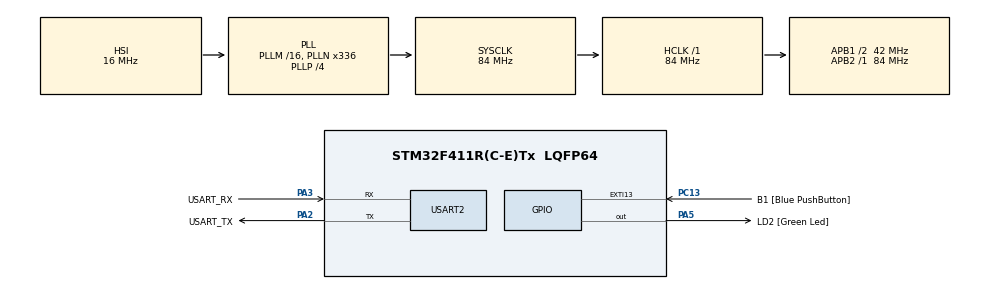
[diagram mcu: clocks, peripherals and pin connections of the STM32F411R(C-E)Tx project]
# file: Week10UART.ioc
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Mcu.Family=STM32F4
Mcu.Name=STM32F411R(C-E)Tx
Mcu.Package=LQFP64
NVIC.PriorityGroup=NVIC_PRIORITYGROUP_0
NVIC.USART2_IRQn=true\:0\:0\:false\:false\:true\:true\:true
PA13.GPIO_Label=TMS
PA13.Mode=Serial_Wire
PA13.Signal=SYS_JTMS-SWDIO
PA14.GPIO_Label=TCK
PA14.Mode=Serial_Wire
PA14.Signal=SYS_JTCK-SWCLK
PA2.GPIO_Label=USART_TX
PA2.Mode=Asynchronous
PA2.Signal=USART2_TX
PA3.GPIO_Label=USART_RX
PA3.Mode=Asynchronous
PA3.Signal=USART2_RX
PA5.GPIO_Label=LD2 [Green Led]
PA5.Signal=GPIO_Output
PB3.GPIO_Label=SWO
PB3.Signal=SYS_JTDO-SWO
PC13-ANTI_TAMP.GPIO_Label=B1 [Blue PushButton]
PC13-ANTI_TAMP.GPIO_ModeDefaultEXTI=GPIO_MODE_IT_FALLING
PC13-ANTI_TAMP.Signal=GPXTI13
PC14-OSC32_IN.Mode=LSE-External-Oscillator
PC14-OSC32_IN.Signal=RCC_OSC32_IN
PC15-OSC32_OUT.Mode=LSE-External-Oscillator
PC15-OSC32_OUT.Signal=RCC_OSC32_OUT
PH0\ -\ OSC_IN.Mode=HSE-External-Clock-Source
PH0\ -\ OSC_IN.Signal=RCC_OSC_IN
PH1\ -\ OSC_OUT.Mode=HSE-External-Clock-Source
PH1\ -\ OSC_OUT.Signal=RCC_OSC_OUT
ProjectManager.HeapSize=0x200
ProjectManager.StackSize=0x400
ProjectManager.TargetToolchain=STM32CubeIDE
RCC.48MHZClocksFreq_Value=84000000
RCC.AHBFreq_Value=84000000
RCC.APB1CLKDivider=RCC_HCLK_DIV2
RCC.APB1Freq_Value=42000000
RCC.APB1TimFreq_Value=84000000
RCC.APB2Freq_Value=84000000
RCC.APB2TimFreq_Value=84000000
RCC.CortexFreq_Value=84000000
RCC.FLatency-AdvancedSettings=FLASH_LATENCY_2
RCC.HCLKFreq_Value=84000000
RCC.HSE_VALUE=8000000
RCC.HSI_VALUE=16000000
RCC.PLLN=336
RCC.PLLP=RCC_PLLP_DIV4
RCC.SYSCLKFreq_VALUE=84000000
RCC.SYSCLKSource=RCC_SYSCLKSOURCE_PLLCLK
RCC.VCOOutputFreq_Value=336000000
USART2.VirtualMode=VM_ASYNC
board=NUCLEO-F411RE

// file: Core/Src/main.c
/* USER CODE BEGIN Header */
/**
 ******************************************************************************
 * @file           : main.c
 * @brief          : Main program body
 ******************************************************************************
 * @attention
 *
 * <h2><center>&copy; Copyright (c) 2021 STMicroelectronics.
 * All rights reserved.</center></h2>
 *
 * This software component is licensed by ST under BSD 3-Clause license,
 * the "License"; You may not use this file except in compliance with the
 * License. You may obtain a copy of the License at:
 *                        opensource.org/licenses/BSD-3-Clause
 *
 ******************************************************************************
 */
/* USER CODE END Header */
#include "main.h"

/* USER CODE BEGIN Includes */
#include <stdio.h> //sprintf
#include <string.h> //strlen
/* USER CODE END Includes */

UART_HandleTypeDef huart2;

/* USER CODE BEGIN PV */
char TxDataBuffer[32] = { 0 };
char RxDataBuffer[32] = { 0 };

uint32_t TimeStamp = 0; //for blinking LED

uint8_t TURN = 0;

//text for operation
char LED_Freq[32] = {0}; //Text that tell freq of LED
char LED_Status[32] = {0}; //Text that tell you LED is On/Off
char LED_Switch[5] = {0}; //memory On/Off
uint16_t Freq = 1; // freq of LED

char Button_Status[32] = {0}; //Text that tell status of button
char Status[10] = {0}; //memory Press/Unpress
uint8_t Status_state[2] = {1}; //memeory button state

uint8_t State = 0;
enum STATEMACHINE
{
	StateMenu = 0,
	StateMenu_WaitInput = 10,
	StateLED = 20,
	StateLED_WaitInput = 30,
	StateButton = 40,
	StateButton_WaitInput = 50
};

/* USER CODE END PV */

void SystemClock_Config(void);
static void MX_GPIO_Init(void);
static void MX_USART2_UART_Init(void);
/* USER CODE BEGIN PFP */
void UARTRecieveAndResponsePolling();
int16_t UARTRecieveIT();
/* USER CODE END PFP */

int main(void)
{

  /* MCU Configuration--------------------------------------------------------*/

  /* Reset of all peripherals, Initializes the Flash interface and the Systick. */
  HAL_Init();

  /* Configure the system clock */
  SystemClock_Config();

  /* Initialize all configured peripherals */
  MX_GPIO_Init();
  MX_USART2_UART_Init();
  /* USER CODE BEGIN 2 */
  {
	  char temp[]="\r\n\r\n\r\n\r\n\r\nWelcome\r\nPlease type something to start UART.\r\n";
	  HAL_UART_Transmit(&huart2, (uint8_t*)temp, strlen(temp),10);
  }
  /* USER CODE END 2 */

  /* Infinite loop */
  /* USER CODE BEGIN WHILE */
  sprintf(Status, "Unpress");
  sprintf(LED_Switch, "Off.");
	while (1)
	{
		/*Method 1 Polling Mode*/

		//UARTRecieveAndResponsePolling();

		/*Method 2 Interrupt Mode*/
		HAL_UART_Receive_IT(&huart2,  (uint8_t*)RxDataBuffer, 32);

		/*Method 2 W/ 1 Char Received*/
		int16_t inputchar = UARTRecieveIT();
		if(inputchar!=-1)
		{
			sprintf(TxDataBuffer, "ReceivedChar:[%c]\r\n\r\n", inputchar);
			HAL_UART_Transmit(&huart2, (uint8_t*)TxDataBuffer, strlen(TxDataBuffer), 1000);
		}
		//State machine
		switch (State)
		{
			case StateMenu:
				{
					char MENU[] = "----------MENU----------\r\n-->Press '0' for LED control.\r\n-->Press '1' for Button status.\r\n------------------------\r\n";
					HAL_UART_Transmit(&huart2, (uint8_t*)MENU, strlen(MENU), 100);
				}
				State = StateMenu_WaitInput;
				break;
			case StateMenu_WaitInput:
				switch (inputchar)
				{
					case 0: //No input. Wait for input
						break;
					case -1: //No input. Wait for input
						break;
					case '0':
						{
							char GotoLED[] = " \r\nGo to LED control.\r\nPlease wait....\r\n \r\n";
							HAL_UART_Transmit(&huart2, (uint8_t*)GotoLED, strlen(GotoLED), 100);
						}
						State = StateLED;
						break;
					case '1':
						{
							char GotoButton[] = " \r\nGo to Button status.\r\nPlease wait....\r\n";
							HAL_UART_Transmit(&huart2, (uint8_t*)GotoButton, strlen(GotoButton), 100);
						}
						State = StateButton;
						break;
					default:
						{
							char ERROR[] = " \r\n!!!ERROR!!!\r\nPlease retype.\r\n \r\n";
							HAL_UART_Transmit(&huart2, (uint8_t*)ERROR, strlen(ERROR), 100);
						}
						State = StateMenu;
						break;
				}
				break;
			case StateLED:
				{
					char LED[] = "------------------------\r\nLED control\r\n-->Press 'a' for speed LED up (+1 Hz).\r\n-->Press 's' for speed LED down (-1 Hz).\r\n-->Press 'd' for On/Off LED.\r\n-->Press 'x' for back to menu.\r\n------------------------\r\n";
					HAL_UART_Transmit(&huart2, (uint8_t*)LED, strlen(LED), 100);
				}
				{
					sprintf(LED_Status, "Status of LED:[%s]\r\n", LED_Switch);
					HAL_UART_Transmit(&huart2, (uint8_t*)LED_Status, strlen(LED_Status), 100);
					sprintf(LED_Freq, "Frequency of LED:[%d]\r\n", Freq);
					HAL_UART_Transmit(&huart2, (uint8_t*)LED_Freq, strlen(LED_Freq), 100);
				}
				State = StateLED_WaitInput;
				break;
			case StateLED_WaitInput:
				switch (inputchar)
				{
					case 0: //No input. Wait for input
						break;
					case -1: //No input. Wait for input
						break;
					case 'a':
						Freq += 1;
						State = StateLED;
						break;
					case 's':
						if(Freq > 1)
						{
							Freq -= 1;
						}
						else
						{
							Freq -= 0;
						}
						State = StateLED;
						break;
					case 'd':
						if(TURN == 0)
						{
							TURN = 1;
							sprintf(LED_Switch, "On.");
						}
						else if(TURN == 1)
						{
							TURN = 0;
							sprintf(LED_Switch, "Off.");
						}
						State = StateLED;
						break;
					case 'x':
						{
							char GoBack[] = " \r\nGo to Menu.\r\nPlease wait....\r\n \r\n";
							HAL_UART_Transmit(&huart2, (uint8_t*)GoBack, strlen(GoBack), 100);
						}
						State = StateMenu;
						break;

					default:
						{
							char ERROR[] = " \r\n!!!ERROR!!!\r\nPlease retype.\r\n \r\n";
							HAL_UART_Transmit(&huart2, (uint8_t*)ERROR, strlen(ERROR), 100);
						}
						State = StateLED;
						break;
				}
				break;
			case StateButton:
				{
					char Button[] = "\r\n------------------------\r\nButton status\r\n-->Press 'x' for back to menu.\r\n------------------------\r\n";
					HAL_UART_Transmit(&huart2, (uint8_t*)Button, strlen(Button), 100);
					sprintf(Button_Status,"Status of Button:[%s]\r\n", Status);
					HAL_UART_Transmit(&huart2, (uint8_t*)Button_Status, strlen(Button_Status), 100);
				}
				State = StateButton_WaitInput;
				break;
			case StateButton_WaitInput:
				Status_state[1] = HAL_GPIO_ReadPin(GPIOC, GPIO_PIN_13);
				switch (inputchar)
				{
					case 0: //No input. Wait for input
						if(Status_state[1] != Status_state[0])
						{
							if(HAL_GPIO_ReadPin(GPIOC, GPIO_PIN_13) == 0)
							{
								sprintf(Status, "Press");
							}
							else
							{
								sprintf(Status, "Unpress");
							}
							State = StateButton;
						}
						break;
					case -1: //No input. Wait for input
						if(Status_state[1] != Status_state[0])
						{
							if(HAL_GPIO_ReadPin(GPIOC, GPIO_PIN_13) == 0)
							{
								sprintf(Status, "Press");
							}
								else
							{
								sprintf(Status, "Unpress");
							}
							State = StateButton;
						}
						break;
					case 'x':
						{
							char GoBack[] = " \r\nGo to Menu.\r\nPlease wait....\r\n \r\n";
							HAL_UART_Transmit(&huart2, (uint8_t*)GoBack, strlen(GoBack), 10);
						}
						State = StateMenu;
						break;
					default:
						{
							char ERROR[] = " \r\n!!!ERROR!!!\r\nPlease retype.\r\n \r\n";
							HAL_UART_Transmit(&huart2, (uint8_t*)ERROR, strlen(ERROR), 10);
						}
						State = StateButton;
						break;
				}
				Status_state[0] = Status_state[1];
				break;
			default:
				{
					char ERROR[] = " \r\n!!!ERROR!!!\r\nPlease retype.\r\n \r\n";
					HAL_UART_Transmit(&huart2, (uint8_t*)ERROR, strlen(ERROR), 10);
				}
				State = StateMenu;
				break;
		}
		if(TURN == 1)
		{
			if((HAL_GetTick() - TimeStamp) >= (500/Freq))
			{
				TimeStamp = HAL_GetTick();
				HAL_GPIO_TogglePin(LD2_GPIO_Port, LD2_Pin);
			}
		}
		else
		{
			HAL_GPIO_WritePin(LD2_GPIO_Port, LD2_Pin, GPIO_PIN_RESET);
		}
    /* USER CODE END WHILE */

	}
}

void SystemClock_Config(void)
{
  RCC_OscInitTypeDef RCC_OscInitStruct = {0};
  RCC_ClkInitTypeDef RCC_ClkInitStruct = {0};

  /** Configure the main internal regulator output voltage
  */
  __HAL_RCC_PWR_CLK_ENABLE();
  __HAL_PWR_VOLTAGESCALING_CONFIG(PWR_REGULATOR_VOLTAGE_SCALE1);
  /** Initializes the RCC Oscillators according to the specified parameters
  * in the RCC_OscInitTypeDef structure.
  */
  RCC_OscInitStruct.OscillatorType = RCC_OSCILLATORTYPE_HSI;
  RCC_OscInitStruct.HSIState = RCC_HSI_ON;
  RCC_OscInitStruct.HSICalibrationValue = RCC_HSICALIBRATION_DEFAULT;
  RCC_OscInitStruct.PLL.PLLState = RCC_PLL_ON;
  RCC_OscInitStruct.PLL.PLLSource = RCC_PLLSOURCE_HSI;
  RCC_OscInitStruct.PLL.PLLM = 16;
  RCC_OscInitStruct.PLL.PLLN = 336;
  RCC_OscInitStruct.PLL.PLLP = RCC_PLLP_DIV4;
  RCC_OscInitStruct.PLL.PLLQ = 4;
  if (HAL_RCC_OscConfig(&RCC_OscInitStruct) != HAL_OK)
  {
    Error_Handler();
  }
  /** Initializes the CPU, AHB and APB buses clocks
  */
  RCC_ClkInitStruct.ClockType = RCC_CLOCKTYPE_HCLK|RCC_CLOCKTYPE_SYSCLK
                              |RCC_CLOCKTYPE_PCLK1|RCC_CLOCKTYPE_PCLK2;
  RCC_ClkInitStruct.SYSCLKSource = RCC_SYSCLKSOURCE_PLLCLK;
  RCC_ClkInitStruct.AHBCLKDivider = RCC_SYSCLK_DIV1;
  RCC_ClkInitStruct.APB1CLKDivider = RCC_HCLK_DIV2;
  RCC_ClkInitStruct.APB2CLKDivider = RCC_HCLK_DIV1;

  if (HAL_RCC_ClockConfig(&RCC_ClkInitStruct, FLASH_LATENCY_2) != HAL_OK)
  {
    Error_Handler();
  }
}

static void MX_USART2_UART_Init(void)
{

  huart2.Instance = USART2;
  huart2.Init.BaudRate = 115200;
  huart2.Init.WordLength = UART_WORDLENGTH_8B;
  huart2.Init.StopBits = UART_STOPBITS_1;
  huart2.Init.Parity = UART_PARITY_NONE;
  huart2.Init.Mode = UART_MODE_TX_RX;
  huart2.Init.HwFlowCtl = UART_HWCONTROL_NONE;
  huart2.Init.OverSampling = UART_OVERSAMPLING_16;
  if (HAL_UART_Init(&huart2) != HAL_OK)
  {
    Error_Handler();
  }

}

static void MX_GPIO_Init(void)
{
  GPIO_InitTypeDef GPIO_InitStruct = {0};

  /* GPIO Ports Clock Enable */
  __HAL_RCC_GPIOC_CLK_ENABLE();
  __HAL_RCC_GPIOH_CLK_ENABLE();
  __HAL_RCC_GPIOA_CLK_ENABLE();
  __HAL_RCC_GPIOB_CLK_ENABLE();

  /*Configure GPIO pin Output Level */
  HAL_GPIO_WritePin(LD2_GPIO_Port, LD2_Pin, GPIO_PIN_RESET);

  /*Configure GPIO pin : B1_Pin */
  GPIO_InitStruct.Pin = B1_Pin;
  GPIO_InitStruct.Mode = GPIO_MODE_IT_FALLING;
  GPIO_InitStruct.Pull = GPIO_NOPULL;
  HAL_GPIO_Init(B1_GPIO_Port, &GPIO_InitStruct);

  /*Configure GPIO pin : LD2_Pin */
  GPIO_InitStruct.Pin = LD2_Pin;
  GPIO_InitStruct.Mode = GPIO_MODE_OUTPUT_PP;
  GPIO_InitStruct.Pull = GPIO_NOPULL;
  GPIO_InitStruct.Speed = GPIO_SPEED_FREQ_LOW;
  HAL_GPIO_Init(LD2_GPIO_Port, &GPIO_InitStruct);

}

/* USER CODE BEGIN 4 */
void UARTRecieveAndResponsePolling()
{
	char Recieve[32]={0};

	HAL_UART_Receive(&huart2, (uint8_t*)Recieve, 32, 1000);

	sprintf(TxDataBuffer, "Received:[%s]\r\n", Recieve);
	HAL_UART_Transmit(&huart2, (uint8_t*)TxDataBuffer, strlen(TxDataBuffer), 1000);

}

int16_t UARTRecieveIT()
{
	static uint32_t dataPos =0;
	int16_t data=-1;
	if(huart2.RxXferSize - huart2.RxXferCount!=dataPos)
	{
		data=RxDataBuffer[dataPos];
		dataPos= (dataPos+1)%huart2.RxXferSize;
	}
	return data;
}

void HAL_UART_RxCpltCallback(UART_HandleTypeDef *huart)
{
	sprintf(TxDataBuffer, "Received:[%s]\r\n\r\n", RxDataBuffer);
	HAL_UART_Transmit(&huart2, (uint8_t*)TxDataBuffer, strlen(TxDataBuffer), 1000);
}
/* USER CODE END 4 */

void Error_Handler(void)
{
	__disable_irq();
	while (1)
	{
	}
}

/************************ (C) COPYRIGHT STMicroelectronics *****END OF FILE****/
